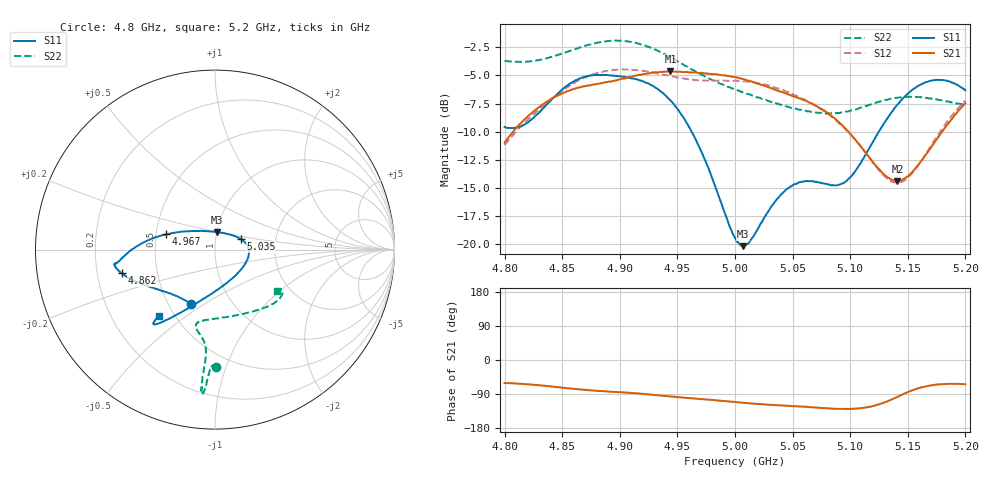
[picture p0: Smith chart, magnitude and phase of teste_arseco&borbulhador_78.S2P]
! Network Analyzer HP8722D
! Hewlett-Packard
! Data name: Linha & Wilkinson
! Saver's name: Rodrigo Anjos
! Comments: Teste da utilização de aquisição
! continua pelo VNA HP8722D
! Time and date: 15/4/2025 16:17
!  Frequency  S11  S21  S12  S22
# HZ  S  MA R 50
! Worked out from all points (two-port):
!   401 points, 4.8 GHz to 5.2 GHz, reference 50 ohm
!   highest |S21| = -4.65 dB at 4.944 GHz (marker M1); lowest = -14.4 dB at 5.141 GHz (marker M2)
!   |S21| within 3 dB of the highest: 4.832 GHz to 5.069 GHz (237.2 MHz wide, 4.79 % of centre); 5.198363 GHz to end of sweep
!   lowest |S11| = -20.2 dB at 5.007 GHz (marker M3), VSWR 1.22, Z = 50.2 + j9.84 ohm
!   |S11| at or under -10 dB: 4.962 GHz to 5.125 GHz (162.5 MHz wide, 3.22 % of centre)
!   |S22| runs from -8.4 to -1.9 dB; largest |S21 - S12| = 0.88
!   S11 on the Smith chart (normalised r, x): 4.8 GHz: 0.65, -0.44; 4.862 GHz: 0.31, -0.11; 4.967 GHz: 0.57, +0.11; 5.035 GHz: 1.32, +0.16; 5.2 GHz: 0.41, -0.40
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4.8e9  0.3315 -113.8  0.2824 -60.9  0.2759 -175.0  0.6537 -89.5
4.819e9  0.3449 -133.6  0.3653 -63.7  0.3528 -173.3  0.6487 -91.1
4.862e9  0.5362 -165.7  0.4938 -76.7  0.5277 -176.5  0.7383 -93.6
4.867e9  0.5498 -167.6  0.5009 -78.3  0.5413 -177.4  0.7539 -93.7
4.9e9  0.5576 -172.2  0.5404 -84.9  0.5974 175.8  0.8015 -95.0
4.934e9  0.4841 -178.0  0.5812 -93.4  0.5733 171.8  0.7199 -95.6
4.944e9  0.4355 177.5  0.5857 -96.2  0.5577 172.0  0.6773 -95.3
4.967e9  0.2838 162.5  0.579 -102.2  0.5353 173.9  0.58 -95.0
5e9  0.1065 106.9  0.5521 -111.0  0.5334 176.3  0.4868 -99.4
5.007e9  0.09773 83.4  0.5416 -112.7  0.5296 176.3  0.4727 -100.9
5.014e9  0.1047 61.1  0.5296 -114.6  0.5267 176.1  0.4606 -102.6
5.035e9  0.1547 22.6  0.486 -119.1  0.4968 175.1  0.4243 -104.0
5.05e9  0.1822 6.9  0.4556 -121.8  0.4647 174.3  0.4037 -100.5
5.067e9  0.1901 -11.5  0.4209 -124.8  0.4212 174.0  0.3858 -91.7
5.087e9  0.1823 -43.9  0.3606 -128.7  0.3566 173.8  0.3822 -76.9
5.097e9  0.1908 -65.1  0.3212 -129.1  0.321 174.4  0.3882 -68.5
5.134e9  0.3735 -116.1  0.196 -106.9  0.1917 -159.7  0.4416 -43.4
5.141e9  0.4167 -120.1  0.1906 -97.1  0.187 -148.8  0.4477 -40.2
5.153e9  0.4813 -125.1  0.2067 -80.9  0.2042 -130.2  0.4516 -35.9
5.17e9  0.5326 -128.5  0.2679 -67.0  0.2728 -113.1  0.4442 -32.1
5.185e9  0.5304 -130.0  0.3425 -63.0  0.3542 -107.1  0.4308 -31.2
5.2e9  0.4827 -130.4  0.4231 -64.1  0.4346 -106.1  0.4155 -33.4
